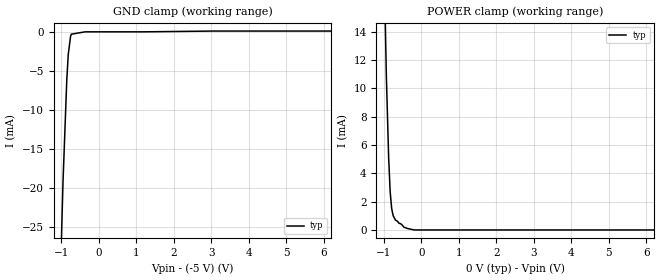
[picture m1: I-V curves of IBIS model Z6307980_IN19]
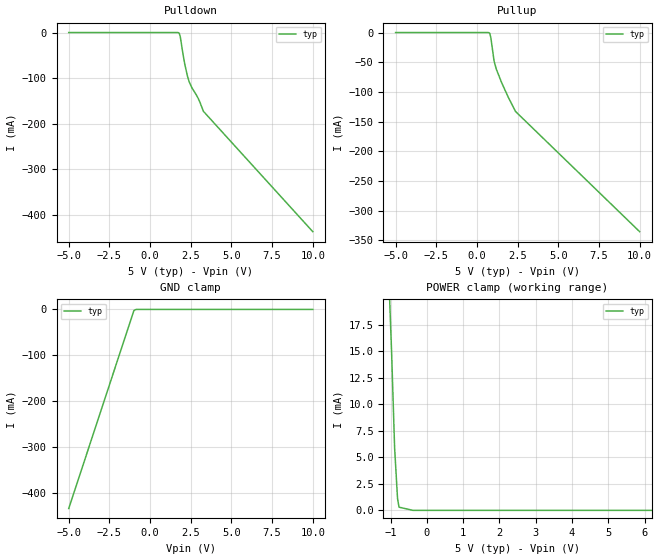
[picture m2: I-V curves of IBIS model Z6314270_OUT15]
[IBIS Ver] 3.1
[File Name] mc100ep90dt_n50_p50.ibs
[File Rev] 1.0
[Source] Derived from MC10ep57
|   Measured and created by ICX Technology
[Date] 4/16/2003
[Copyright]
| (C) COPYRIGHT 1993-2000
| MENTOR GRAPHICS CORPORATION
| ICX STANDARD LIBRARY, ICX PROJECT MODELING,
| ICX CUSTOM MODELING, ICX VENDOR MODEL
| ALL RIGHTS RESERVED.
| THE FOLLOWING ARE TRADEMARKS OR SERVICE MARKS OF
| MENTOR GRAPHICS CORPORATION:ICX (R), ICX STANDARD
| LIBRARY(R), ICX PROJECT MODELING(R), ICX CUSTOM
| MODELING(R), qualityIBIS(TM), MODELVIEWER(TM),
| AND MODELEDITOR(TM)
| ALL COPIES OF SOFTWARE, INCLUDING BUT NOT LIMITED TO
| ANY MODIFICATIONS, ENHANCEMENTS OR DERIVATIVE WORKS,
| MUST CONTAIN ALL MENTOR GRAPHICS CORPORATION'S
| NOTICES AND LEGENDS, INCLUDING THOSE EMBEDDED IN
| SOFTWARE AND THOSE AFFIXED TO SOFTWARE MEDIUM
| AND CONTAINER, AS RECEIVED FROM MENTOR GRAPHICS
| CORPORATION.
|  ZAP Model Builder 2.8
[Component] mc100ep90dt_n50_p50
[Manufacturer] On Semiconductor
[Package]
| variable   typ   min   max
R_pkg  .18ohms NA NA
L_pkg  4.22nH NA NA
C_pkg  .41pF NA NA
[Pin] signal_name  model_name  R_pin  L_pin C_pin
1 VCC POWER .194 5.16n .43p
2 D0 Z6307980_IN19 .185 4.57n .42p
3 _D0 Z6307980_IN19 .177 3.98n .42p
4 VBB POWER .177 3.98n .42p
5 D1 Z6307980_IN19 .185 4.57n .42p
6 _D1 Z6307980_IN19 .177 3.98n .42p
7 VBB POWER .177 3.98n .42p
8 D2 Z6307980_IN19 .185 4.57n .42p
9 _D2 Z6307980_IN19 .177 3.98n .42p
10 VEE POWER .194 5.16n .43p
11 VCC POWER .194 5.16n .43p
12 _Q2 Z6314270_OUT15 .171 3.6n .37p
13 Q2 Z6314270_OUT15 .171 3.6n .37p
14 GND GND .194 5.16n .43p
15 _Q1 Z6314270_OUT15 .171 3.6n .37p
16 Q1 Z6314270_OUT15 .171 3.6n .37p
17 GND GND .194 5.16n .43p
18 _Q0 Z6314270_OUT15 .171 3.6n .37p
19 Q0 Z6314270_OUT15 .171 3.6n .37p
20 VCC POWER .194 5.16n .43p
[Diff Pin] inv_pin vdiff tdelay_typ tdelay_min tdelay_max
2 3 150mv NA NA NA
5 6 150mv NA NA NA
8 9 150mv NA NA NA
13 12 NA NA NA NA
16 15 NA NA NA NA
19 18 NA NA NA NA
| Models and submodels in the file (2): Z6307980_IN19 (Input_ECL), Z6314270_OUT15 (Output_ECL)
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| (C) COPYRIGHT 1993-2000
| MENTOR GRAPHICS CORPORATION
| ICX STANDARD LIBRARY, ICX PROJECT MODELING,
| ICX CUSTOM MODELING, ICX VENDOR MODEL
| ALL RIGHTS RESERVED.
| THE FOLLOWING ARE TRADEMARKS OR SERVICE MARKS OF
| MENTOR GRAPHICS CORPORATION:ICX (R), ICX STANDARD
| LIBRARY(R), ICX PROJECT MODELING(R), ICX CUSTOM
| MODELING(R), qualityIBIS(TM), MODELVIEWER(TM),
| AND MODELEDITOR(TM)
| ALL COPIES OF SOFTWARE, INCLUDING BUT NOT LIMITED TO
| ANY MODIFICATIONS, ENHANCEMENTS OR DERIVATIVE WORKS,
| MUST CONTAIN ALL MENTOR GRAPHICS CORPORATION'S
| NOTICES AND LEGENDS, INCLUDING THOSE EMBEDDED IN
| SOFTWARE AND THOSE AFFIXED TO SOFTWARE MEDIUM
| AND CONTAINER, AS RECEIVED FROM MENTOR GRAPHICS
| CORPORATION.
| Model Application Version 1.89 2/18/99.
[Model] Z6307980_IN19
Model_type Input_ECL
Vinl = -1.545V
Vinh = -1.145V
C_comp 2.000pF NA NA
| variable typ   min   max
[Voltage Range] -5.000V NA NA
[GND Clamp Reference] -5.000V NA NA
[POWER Clamp Reference] 0.000V NA NA
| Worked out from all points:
|   GND clamp passes 1 mA (typ) near -0.76 V on its own axis
|   POWER clamp passes 1 mA (typ) near -0.75 V on its own axis
[GND Clamp]
-5V       -514.1mA   NA         NA
-1.058V   -37.3mA    NA         NA
-957mV    -19.5mA    NA         NA
-855mV    -6.2mA     NA         NA
-815mV    -2.9mA     NA         NA
-754mV    -600uA     NA         NA
-734mV    -300uA     NA         NA
-367mV    0A         NA         NA
1.192V    0A         NA         NA
3.057V    100uA      NA         NA
10V       100uA      NA         NA
[POWER Clamp]
-5.5V     416.2mA    NA         NA
-1.054V   27.1mA     NA         NA
-932mV    10.8mA     NA         NA
-871mV    5.1mA      NA         NA
-831mV    2.7mA      NA         NA
-790mV    1.5mA      NA         NA
-750mV    1mA        NA         NA
-689mV    700uA      NA         NA
-466mV    200uA      NA         NA
-365mV    100uA      NA         NA
-182.5mV  0A         NA         NA
10V       0A         NA         NA
| (C) COPYRIGHT 1993-2000
| MENTOR GRAPHICS CORPORATION
| ICX STANDARD LIBRARY, ICX PROJECT MODELING,
| ICX CUSTOM MODELING, ICX VENDOR MODEL
| ALL RIGHTS RESERVED.
| THE FOLLOWING ARE TRADEMARKS OR SERVICE MARKS OF
| MENTOR GRAPHICS CORPORATION:ICX (R), ICX STANDARD
| LIBRARY(R), ICX PROJECT MODELING(R), ICX CUSTOM
| MODELING(R), qualityIBIS(TM), MODELVIEWER(TM),
| AND MODELEDITOR(TM)
| ALL COPIES OF SOFTWARE, INCLUDING BUT NOT LIMITED TO
| ANY MODIFICATIONS, ENHANCEMENTS OR DERIVATIVE WORKS,
| MUST CONTAIN ALL MENTOR GRAPHICS CORPORATION'S
| NOTICES AND LEGENDS, INCLUDING THOSE EMBEDDED IN
| SOFTWARE AND THOSE AFFIXED TO SOFTWARE MEDIUM
| AND CONTAINER, AS RECEIVED FROM MENTOR GRAPHICS
| CORPORATION.
| Model Application Version 1.89 2/18/99.
[Model] Z6314270_OUT15
Model_type Output_ECL
Vref=3.000V
Rref=50.00ohms
Cref=0.000F
Vmeas=3.580V
C_comp 2.000pF NA NA
| variable typ   min   max
[Voltage Range] 5.000V NA NA
[POWER Clamp Reference] 5.000V NA NA
[Pullup Reference] 5.000V NA NA
[Pulldown Reference] 5.000V NA NA
[GND Clamp Reference] 0.000V NA NA
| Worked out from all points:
|   GND clamp passes 1 mA (typ) near -0.91 V on its own axis
|   POWER clamp passes 1 mA (typ) near -0.80 V on its own axis
[GND Clamp]
-5V       -433.2mA   NA         NA
-993mV    -2.435mA   NA         NA
-851.1mV  0A         NA         NA
10V       0A         NA         NA
[Pulldown]
-5V       0A         NA         NA
1.76V     -600uA     NA         NA
1.8V      -2.1mA     NA         NA
1.861V    -10mA      NA         NA
2.023V    -47.3mA    NA         NA
2.145V    -71.5mA    NA         NA
2.307V    -96.9mA    NA         NA
2.409V    -108.7mA   NA         NA
2.571V    -121.3mA   NA         NA
2.956V    -144.5mA   NA         NA
3.28V     -173.1mA   NA         NA
10V       -437.5mA   NA         NA
[Pullup]
-5V       0A         NA         NA
670mV     0A         NA         NA
731mV     -200uA     NA         NA
771mV     -900uA     NA         NA
792mV     -1.8mA     NA         NA
853mV     -8.4mA     NA         NA
1.055V    -48.3mA    NA         NA
1.197V    -62.2mA    NA         NA
1.521V    -84.6mA    NA         NA
1.927V    -109.1mA   NA         NA
2.373V    -133mA     NA         NA
10V       -335.4mA   NA         NA
[POWER Clamp]
-5V       387.4mA    NA         NA
-972mV    14.7mA     NA         NA
-891mV    5.9mA      NA         NA
-810mV    1.1mA      NA         NA
-769mV    300uA      NA         NA
-384.5mV  0A         NA         NA
10V       0A         NA         NA
[Ramp]
| variable typ min max
dV/dt_r 412.0m/99.28p NA NA
dV/dt_f 412.0m/96.68p NA NA
R_load = 50.00Ohms
